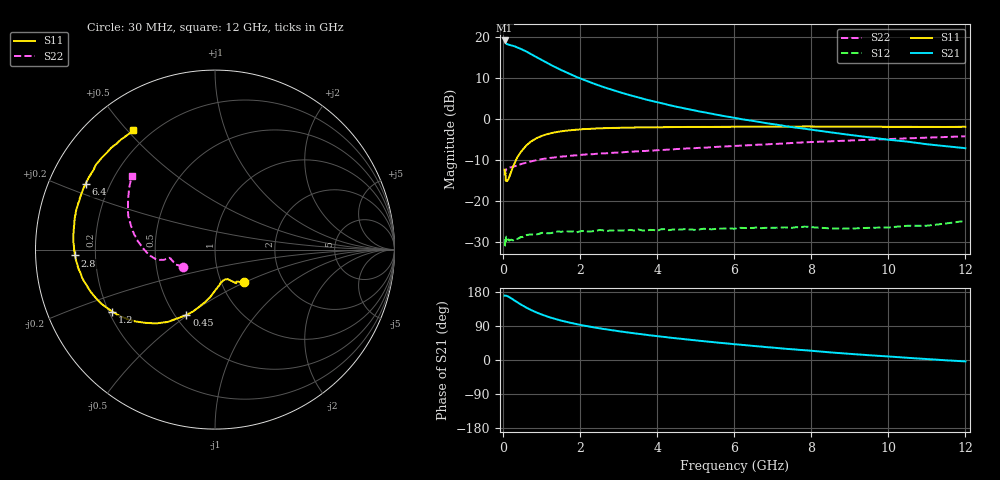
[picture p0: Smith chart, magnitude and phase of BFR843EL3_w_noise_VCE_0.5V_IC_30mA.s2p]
! Infineon Technologies  Discrete & RF Semiconductors
! BFR843EL3
! VCE =  0.5 V,  IC =  30 mA
! Common Emitter S-Parameters:  Aug 2013
# GHz  S  MA  R  50
!  f  S11  S21  S12  S22
! GHz  MAG  ANG  MAG  ANG  MAG  ANG  MAG  ANG
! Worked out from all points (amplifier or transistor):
!   103 points, 30 MHz to 12 GHz, reference 50 ohm
!   highest |S21| = 19.2 dB at 30 MHz (marker M1)
!   |S21| within 3 dB of that: start of sweep to 653.4 MHz
!   unconditionally stable (mu >= 1): start of sweep to end of sweep
!   at 400 MHz: K = 1.64, MAG = 18.5 dB, |S12| = -29.0 dB
!   at 3.7 GHz: K = 2.03, MAG = 10.2 dB, |S12| = -27.2 dB
!   at 12 GHz: K = 4.45, MAG = -0.6 dB, |S12| = -24.8 dB
!   lowest NFmin = 1.34 dB at 900 MHz
!   S11 on the Smith chart (normalised r, x): 30 MHz: 1.27, -0.49; 450 MHz: 0.57, -0.49; 1.2 GHz: 0.21, -0.27; 2.8 GHz: 0.12, -0.02; 6.4 GHz: 0.11, +0.24; 12 GHz: 0.14, +0.52
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0.03  0.2427 -48.9  9.083 169.9  0.0284 23.4  0.2063 -151.1
0.04  0.2148 -55.9  8.767 169.7  0.0289 24.3  0.2216 -156.8
0.05  0.2219 -57.8  8.606 169.6  0.0375 34.8  0.2337 -158.9
0.07  0.1779 -67.9  8.312 169.6  0.0328 13.9  0.2426 -164.4
0.15  0.1968 -82.2  8.039 166.1  0.0332 12.8  0.2564 -169.3
0.25  0.2654 -95.7  7.804 159.6  0.0334 6.6  0.2626 -169.8
0.3  0.2978 -100.8  7.672 156.1  0.0348 8.8  0.2674 -169.7
0.45  0.3978 -113.6  7.166 146.6  0.0367 10.1  0.2825 -169.0
0.6  0.4809 -123.1  6.638 138.0  0.0388 11.2  0.2954 -168.7
0.7  0.5273 -128.7  6.254 132.8  0.0395 10.8  0.3046 -169.3
0.9  0.5987 -138.1  5.551 123.7  0.0398 8.7  0.3205 -170.1
1.2  0.6684 -148.8  4.665 112.7  0.0407 9.1  0.3367 -171.2
1.5  0.7113 -156.7  3.964 103.9  0.0425 9.7  0.3503 -173.0
1.8  0.7373 -163.0  3.426 96.9  0.043 9.3  0.3605 -174.4
2.1  0.7573 -168.2  2.995 90.6  0.0436 8.3  0.3707 -175.8
2.8  0.7808 -177.6  2.297 78.9  0.0442 9.3  0.3881 -178.9
4.1  0.7966 169.8  1.566 61.7  0.0456 11.3  0.4201 175.6
6.1  0.8081 155.2  1.018 40.9  0.0475 12.6  0.4742 166.5
6.4  0.8077 153.2  0.964 38.0  0.0473 12.2  0.4821 164.9
8.5  0.8122 140.6  0.691 20.0  0.0467 12.6  0.5378 154.4
10.5  0.8066 130.6  0.532 5.8  0.0504 21.7  0.5839 145.2
12  0.8079 124.4  0.443 -3.7  0.0577 24.7  0.6178 138.6
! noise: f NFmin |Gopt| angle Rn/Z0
0.45  1.35  0.17  172  0.13
0.9  1.34  0.17  168  0.12
1.5  1.34  0.19  166  0.11
1.9  1.34  0.19  168  0.1
2.4  1.34  0.2  171  0.11
3.5  1.35  0.22  176  0.11
5.5  1.36  0.29  190  0.1
8  1.38  0.39  206  0.09
10  1.4  0.49  225  0.1
